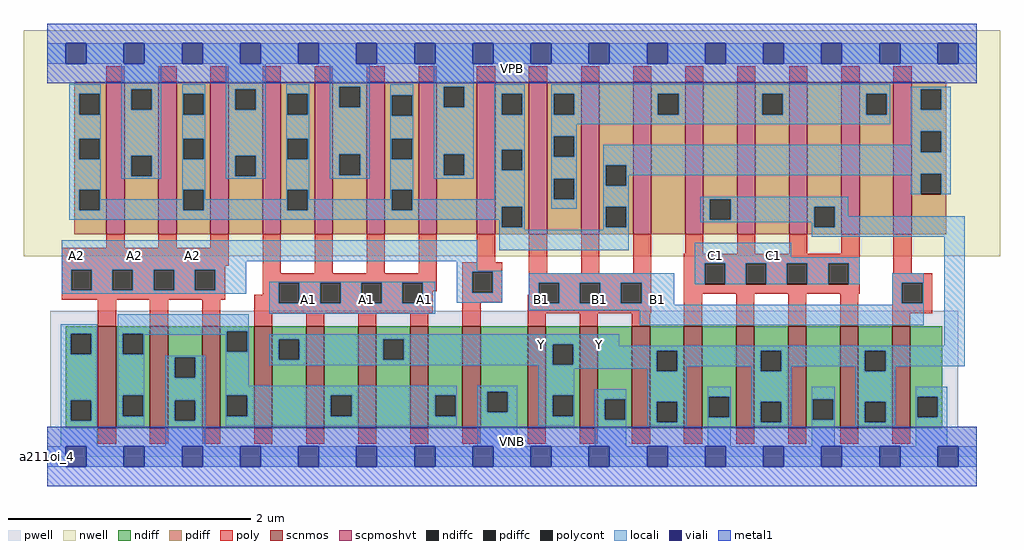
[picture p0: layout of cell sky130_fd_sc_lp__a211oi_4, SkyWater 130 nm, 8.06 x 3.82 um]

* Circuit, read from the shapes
.subckt sky130_fd_sc_lp__a211oi_4 A1 A2 B1 C1 VGND VNB VPB VPWR Y
XM1 n1 A2 VGND VNB sky130_fd_pr__nfet_01v8 w=0.84 l=0.15 m=4
XM2 Y A1 n1 VNB sky130_fd_pr__nfet_01v8 w=0.84 l=0.15 m=4
XM3 Y B1 VGND VNB sky130_fd_pr__nfet_01v8 w=0.84 l=0.15 m=4
XM4 VGND C1 Y VNB sky130_fd_pr__nfet_01v8 w=0.84 l=0.15 m=4
XM5 VPWR A2 n2 VPB sky130_fd_pr__pfet_01v8_hvt w=1.26 l=0.15 m=4
XM6 n2 A1 VPWR VPB sky130_fd_pr__pfet_01v8_hvt w=1.26 l=0.15 m=4
XM7 n3 B1 n2 VPB sky130_fd_pr__pfet_01v8_hvt w=1.26 l=0.15 m=4
XM8 Y C1 n3 VPB sky130_fd_pr__pfet_01v8_hvt w=1.26 l=0.15 m=4
.ends

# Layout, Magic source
magic
tech sky130A
magscale 1 2
<< nwell >>
rect -38 331 1574 704
<< pwell >>
rect 5 49 1505 241
rect 0 0 1536 49
<< scnmos >>
rect 84 47 114 215
rect 170 47 200 215
rect 256 47 286 215
rect 342 47 372 215
rect 428 47 458 215
rect 514 47 544 215
rect 600 47 630 215
rect 686 47 716 215
rect 794 47 824 215
rect 880 47 910 215
rect 966 47 996 215
rect 1052 47 1082 215
rect 1138 47 1168 215
rect 1224 47 1254 215
rect 1310 47 1340 215
rect 1396 47 1426 215
<< scpmoshvt >>
rect 98 367 128 619
rect 184 367 214 619
rect 270 367 300 619
rect 356 367 386 619
rect 442 367 472 619
rect 528 367 558 619
rect 614 367 644 619
rect 710 367 740 619
rect 796 367 826 619
rect 882 367 912 619
rect 968 367 998 619
rect 1054 367 1084 619
rect 1140 367 1170 619
rect 1226 367 1256 619
rect 1312 367 1342 619
rect 1398 367 1428 619
<< ndiff >>
rect 31 203 84 215
rect 31 169 39 203
rect 73 169 84 203
rect 31 93 84 169
rect 31 59 39 93
rect 73 59 84 93
rect 31 47 84 59
rect 114 203 170 215
rect 114 169 125 203
rect 159 169 170 203
rect 114 101 170 169
rect 114 67 125 101
rect 159 67 170 101
rect 114 47 170 67
rect 200 164 256 215
rect 200 130 211 164
rect 245 130 256 164
rect 200 93 256 130
rect 200 59 211 93
rect 245 59 256 93
rect 200 47 256 59
rect 286 207 342 215
rect 286 173 297 207
rect 331 173 342 207
rect 286 101 342 173
rect 286 67 297 101
rect 331 67 342 101
rect 286 47 342 67
rect 372 194 428 215
rect 372 160 383 194
rect 417 160 428 194
rect 372 47 428 160
rect 458 101 514 215
rect 458 67 469 101
rect 503 67 514 101
rect 458 47 514 67
rect 544 194 600 215
rect 544 160 555 194
rect 589 160 600 194
rect 544 47 600 160
rect 630 101 686 215
rect 630 67 641 101
rect 675 67 686 101
rect 630 47 686 67
rect 716 107 794 215
rect 716 73 727 107
rect 761 73 794 107
rect 716 47 794 73
rect 824 186 880 215
rect 824 152 835 186
rect 869 152 880 186
rect 824 101 880 152
rect 824 67 835 101
rect 869 67 880 101
rect 824 47 880 67
rect 910 95 966 215
rect 910 61 921 95
rect 955 61 966 95
rect 910 47 966 61
rect 996 175 1052 215
rect 996 141 1007 175
rect 1041 141 1052 175
rect 996 91 1052 141
rect 996 57 1007 91
rect 1041 57 1052 91
rect 996 47 1052 57
rect 1082 99 1138 215
rect 1082 65 1093 99
rect 1127 65 1138 99
rect 1082 47 1138 65
rect 1168 175 1224 215
rect 1168 141 1179 175
rect 1213 141 1224 175
rect 1168 91 1224 141
rect 1168 57 1179 91
rect 1213 57 1224 91
rect 1168 47 1224 57
rect 1254 95 1310 215
rect 1254 61 1265 95
rect 1299 61 1310 95
rect 1254 47 1310 61
rect 1340 175 1396 215
rect 1340 141 1351 175
rect 1385 141 1396 175
rect 1340 91 1396 141
rect 1340 57 1351 91
rect 1385 57 1396 91
rect 1340 47 1396 57
rect 1426 99 1479 215
rect 1426 65 1437 99
rect 1471 65 1479 99
rect 1426 47 1479 65
<< pdiff >>
rect 45 599 98 619
rect 45 565 53 599
rect 87 565 98 599
rect 45 525 98 565
rect 45 491 53 525
rect 87 491 98 525
rect 45 441 98 491
rect 45 407 53 441
rect 87 407 98 441
rect 45 367 98 407
rect 128 607 184 619
rect 128 573 139 607
rect 173 573 184 607
rect 128 497 184 573
rect 128 463 139 497
rect 173 463 184 497
rect 128 367 184 463
rect 214 599 270 619
rect 214 565 225 599
rect 259 565 270 599
rect 214 525 270 565
rect 214 491 225 525
rect 259 491 270 525
rect 214 441 270 491
rect 214 407 225 441
rect 259 407 270 441
rect 214 367 270 407
rect 300 607 356 619
rect 300 573 311 607
rect 345 573 356 607
rect 300 497 356 573
rect 300 463 311 497
rect 345 463 356 497
rect 300 367 356 463
rect 386 599 442 619
rect 386 565 397 599
rect 431 565 442 599
rect 386 525 442 565
rect 386 491 397 525
rect 431 491 442 525
rect 386 441 442 491
rect 386 407 397 441
rect 431 407 442 441
rect 386 367 442 407
rect 472 611 528 619
rect 472 577 483 611
rect 517 577 528 611
rect 472 499 528 577
rect 472 465 483 499
rect 517 465 528 499
rect 472 367 528 465
rect 558 597 614 619
rect 558 563 569 597
rect 603 563 614 597
rect 558 525 614 563
rect 558 491 569 525
rect 603 491 614 525
rect 558 441 614 491
rect 558 407 569 441
rect 603 407 614 441
rect 558 367 614 407
rect 644 611 710 619
rect 644 577 655 611
rect 689 577 710 611
rect 644 499 710 577
rect 644 465 655 499
rect 689 465 710 499
rect 644 367 710 465
rect 740 599 796 619
rect 740 565 751 599
rect 785 565 796 599
rect 740 507 796 565
rect 740 473 751 507
rect 785 473 796 507
rect 740 413 796 473
rect 740 379 751 413
rect 785 379 796 413
rect 740 367 796 379
rect 826 599 882 619
rect 826 565 837 599
rect 871 565 882 599
rect 826 529 882 565
rect 826 495 837 529
rect 871 495 882 529
rect 826 459 882 495
rect 826 425 837 459
rect 871 425 882 459
rect 826 367 882 425
rect 912 481 968 619
rect 912 447 923 481
rect 957 447 968 481
rect 912 413 968 447
rect 912 379 923 413
rect 957 379 968 413
rect 912 367 968 379
rect 998 599 1054 619
rect 998 565 1009 599
rect 1043 565 1054 599
rect 998 367 1054 565
rect 1084 425 1140 619
rect 1084 391 1095 425
rect 1129 391 1140 425
rect 1084 367 1140 391
rect 1170 599 1226 619
rect 1170 565 1181 599
rect 1215 565 1226 599
rect 1170 367 1226 565
rect 1256 413 1312 619
rect 1256 379 1267 413
rect 1301 379 1312 413
rect 1256 367 1312 379
rect 1342 599 1398 619
rect 1342 565 1353 599
rect 1387 565 1398 599
rect 1342 367 1398 565
rect 1428 607 1485 619
rect 1428 573 1443 607
rect 1477 573 1485 607
rect 1428 537 1485 573
rect 1428 503 1443 537
rect 1477 503 1485 537
rect 1428 467 1485 503
rect 1428 433 1443 467
rect 1477 433 1485 467
rect 1428 367 1485 433
<< ndiffc >>
rect 39 169 73 203
rect 39 59 73 93
rect 125 169 159 203
rect 125 67 159 101
rect 211 130 245 164
rect 211 59 245 93
rect 297 173 331 207
rect 297 67 331 101
rect 383 160 417 194
rect 469 67 503 101
rect 555 160 589 194
rect 641 67 675 101
rect 727 73 761 107
rect 835 152 869 186
rect 835 67 869 101
rect 921 61 955 95
rect 1007 141 1041 175
rect 1007 57 1041 91
rect 1093 65 1127 99
rect 1179 141 1213 175
rect 1179 57 1213 91
rect 1265 61 1299 95
rect 1351 141 1385 175
rect 1351 57 1385 91
rect 1437 65 1471 99
<< pdiffc >>
rect 53 565 87 599
rect 53 491 87 525
rect 53 407 87 441
rect 139 573 173 607
rect 139 463 173 497
rect 225 565 259 599
rect 225 491 259 525
rect 225 407 259 441
rect 311 573 345 607
rect 311 463 345 497
rect 397 565 431 599
rect 397 491 431 525
rect 397 407 431 441
rect 483 577 517 611
rect 483 465 517 499
rect 569 563 603 597
rect 569 491 603 525
rect 569 407 603 441
rect 655 577 689 611
rect 655 465 689 499
rect 751 565 785 599
rect 751 473 785 507
rect 751 379 785 413
rect 837 565 871 599
rect 837 495 871 529
rect 837 425 871 459
rect 923 447 957 481
rect 923 379 957 413
rect 1009 565 1043 599
rect 1095 391 1129 425
rect 1181 565 1215 599
rect 1267 379 1301 413
rect 1353 565 1387 599
rect 1443 573 1477 607
rect 1443 503 1477 537
rect 1443 433 1477 467
<< poly >>
rect 98 619 128 645
rect 184 619 214 645
rect 270 619 300 645
rect 356 619 386 645
rect 442 619 472 645
rect 528 619 558 645
rect 614 619 644 645
rect 710 619 740 645
rect 796 619 826 645
rect 882 619 912 645
rect 968 619 998 645
rect 1054 619 1084 645
rect 1140 619 1170 645
rect 1226 619 1256 645
rect 1312 619 1342 645
rect 1398 619 1428 645
rect 98 345 128 367
rect 184 345 214 367
rect 270 345 300 367
rect 24 315 300 345
rect 24 309 294 315
rect 24 275 40 309
rect 74 275 108 309
rect 142 275 176 309
rect 210 275 244 309
rect 278 275 294 309
rect 24 259 294 275
rect 356 303 386 367
rect 442 303 472 367
rect 528 303 558 367
rect 614 303 644 367
rect 710 321 740 367
rect 356 287 644 303
rect 356 267 383 287
rect 84 215 114 259
rect 170 215 200 259
rect 256 215 286 259
rect 342 253 383 267
rect 417 253 451 287
rect 485 253 519 287
rect 553 253 587 287
rect 621 273 644 287
rect 686 305 752 321
rect 621 253 637 273
rect 342 237 637 253
rect 686 271 702 305
rect 736 271 752 305
rect 686 255 752 271
rect 796 303 826 367
rect 882 303 912 367
rect 968 303 998 367
rect 1054 335 1084 367
rect 1140 335 1170 367
rect 1226 335 1256 367
rect 1312 335 1342 367
rect 796 287 998 303
rect 796 267 812 287
rect 342 215 372 237
rect 428 215 458 237
rect 514 215 544 237
rect 600 215 630 237
rect 686 215 716 255
rect 794 253 812 267
rect 846 253 880 287
rect 914 253 948 287
rect 982 253 998 287
rect 794 237 998 253
rect 1052 319 1342 335
rect 1052 285 1086 319
rect 1120 285 1154 319
rect 1188 285 1222 319
rect 1256 285 1290 319
rect 1324 285 1342 319
rect 1398 303 1428 367
rect 1052 269 1342 285
rect 1396 287 1462 303
rect 794 215 824 237
rect 880 215 910 237
rect 966 215 996 237
rect 1052 215 1082 269
rect 1138 215 1168 269
rect 1224 215 1254 269
rect 1310 215 1340 269
rect 1396 253 1412 287
rect 1446 253 1462 287
rect 1396 237 1462 253
rect 1396 215 1426 237
rect 84 21 114 47
rect 170 21 200 47
rect 256 21 286 47
rect 342 21 372 47
rect 428 21 458 47
rect 514 21 544 47
rect 600 21 630 47
rect 686 21 716 47
rect 794 21 824 47
rect 880 21 910 47
rect 966 21 996 47
rect 1052 21 1082 47
rect 1138 21 1168 47
rect 1224 21 1254 47
rect 1310 21 1340 47
rect 1396 21 1426 47
<< polycont >>
rect 40 275 74 309
rect 108 275 142 309
rect 176 275 210 309
rect 244 275 278 309
rect 383 253 417 287
rect 451 253 485 287
rect 519 253 553 287
rect 587 253 621 287
rect 702 271 736 305
rect 812 253 846 287
rect 880 253 914 287
rect 948 253 982 287
rect 1086 285 1120 319
rect 1154 285 1188 319
rect 1222 285 1256 319
rect 1290 285 1324 319
rect 1412 253 1446 287
<< locali >>
rect 0 649 31 683
rect 65 649 127 683
rect 161 649 223 683
rect 257 649 319 683
rect 353 649 415 683
rect 449 649 511 683
rect 545 649 607 683
rect 641 649 703 683
rect 737 649 799 683
rect 833 649 895 683
rect 929 649 991 683
rect 1025 649 1087 683
rect 1121 649 1183 683
rect 1217 649 1279 683
rect 1313 649 1375 683
rect 1409 649 1471 683
rect 1505 649 1536 683
rect 37 599 89 615
rect 37 565 53 599
rect 87 565 89 599
rect 37 525 89 565
rect 37 491 53 525
rect 87 491 89 525
rect 37 441 89 491
rect 123 607 189 649
rect 123 573 139 607
rect 173 573 189 607
rect 123 497 189 573
rect 123 463 139 497
rect 173 463 189 497
rect 123 459 189 463
rect 223 599 261 615
rect 223 565 225 599
rect 259 565 261 599
rect 223 525 261 565
rect 223 491 225 525
rect 259 491 261 525
rect 37 407 53 441
rect 87 425 89 441
rect 223 441 261 491
rect 295 607 361 649
rect 295 573 311 607
rect 345 573 361 607
rect 295 497 361 573
rect 295 463 311 497
rect 345 463 361 497
rect 295 459 361 463
rect 395 599 433 615
rect 395 565 397 599
rect 431 565 433 599
rect 395 525 433 565
rect 395 491 397 525
rect 431 491 433 525
rect 223 425 225 441
rect 87 407 225 425
rect 259 425 261 441
rect 395 441 433 491
rect 467 611 533 649
rect 467 577 483 611
rect 517 577 533 611
rect 467 499 533 577
rect 467 465 483 499
rect 517 465 533 499
rect 467 459 533 465
rect 567 597 605 615
rect 567 563 569 597
rect 603 563 605 597
rect 567 525 605 563
rect 567 491 569 525
rect 603 491 605 525
rect 395 425 397 441
rect 259 407 397 425
rect 431 425 433 441
rect 567 441 605 491
rect 639 611 705 649
rect 639 577 655 611
rect 689 577 705 611
rect 639 499 705 577
rect 639 465 655 499
rect 689 465 705 499
rect 639 459 705 465
rect 739 599 789 615
rect 739 565 751 599
rect 785 565 789 599
rect 739 507 789 565
rect 739 473 751 507
rect 785 473 789 507
rect 567 425 569 441
rect 431 407 569 425
rect 603 425 605 441
rect 739 425 789 473
rect 603 413 789 425
rect 603 407 751 413
rect 37 391 751 407
rect 747 379 751 391
rect 785 379 789 413
rect 833 599 1393 615
rect 833 565 837 599
rect 871 565 1009 599
rect 1043 565 1181 599
rect 1215 565 1353 599
rect 1387 565 1393 599
rect 833 549 1393 565
rect 1427 607 1493 611
rect 1427 573 1443 607
rect 1477 573 1493 607
rect 833 529 875 549
rect 833 495 837 529
rect 871 495 875 529
rect 1427 537 1493 573
rect 1427 515 1443 537
rect 833 459 875 495
rect 833 425 837 459
rect 871 425 875 459
rect 833 409 875 425
rect 919 503 1443 515
rect 1477 503 1493 537
rect 919 481 1493 503
rect 919 447 923 481
rect 957 467 1493 481
rect 957 465 1443 467
rect 957 447 961 465
rect 919 413 961 447
rect 1427 433 1443 465
rect 1477 433 1493 467
rect 747 375 789 379
rect 919 379 923 413
rect 957 379 961 413
rect 1079 425 1323 429
rect 1079 391 1095 425
rect 1129 413 1323 425
rect 1129 391 1267 413
rect 1079 387 1267 391
rect 919 375 961 379
rect 24 323 711 357
rect 747 341 961 375
rect 1263 379 1267 387
rect 1301 397 1323 413
rect 1301 379 1516 397
rect 1263 363 1516 379
rect 24 309 329 323
rect 24 275 40 309
rect 74 275 108 309
rect 142 275 176 309
rect 210 275 244 309
rect 278 275 329 309
rect 677 307 711 323
rect 1070 329 1229 353
rect 1070 319 1342 329
rect 677 305 752 307
rect 24 269 329 275
rect 367 287 641 289
rect 367 253 383 287
rect 417 253 451 287
rect 485 253 519 287
rect 553 253 587 287
rect 621 253 641 287
rect 677 271 702 305
rect 736 271 752 305
rect 677 254 752 271
rect 796 287 1036 303
rect 367 236 641 253
rect 796 253 812 287
rect 846 253 880 287
rect 914 253 948 287
rect 982 253 1036 287
rect 1070 285 1086 319
rect 1120 285 1154 319
rect 1188 285 1222 319
rect 1256 285 1290 319
rect 1324 285 1342 319
rect 1396 287 1448 303
rect 796 251 1036 253
rect 1396 253 1412 287
rect 1446 253 1448 287
rect 1396 251 1448 253
rect 796 242 1448 251
rect 23 203 83 219
rect 23 169 39 203
rect 73 169 83 203
rect 23 93 83 169
rect 23 59 39 93
rect 73 59 83 93
rect 23 17 83 59
rect 117 207 333 235
rect 979 217 1448 242
rect 117 203 297 207
rect 117 169 125 203
rect 159 201 297 203
rect 159 169 161 201
rect 117 101 161 169
rect 295 173 297 201
rect 331 173 333 207
rect 117 67 125 101
rect 159 67 161 101
rect 117 51 161 67
rect 195 164 261 167
rect 195 130 211 164
rect 245 130 261 164
rect 195 93 261 130
rect 195 59 211 93
rect 245 59 261 93
rect 195 17 261 59
rect 295 117 333 173
rect 367 194 945 202
rect 367 160 383 194
rect 417 160 555 194
rect 589 186 945 194
rect 589 160 835 186
rect 367 152 835 160
rect 869 183 945 186
rect 1482 183 1516 363
rect 869 175 1516 183
rect 869 152 1007 175
rect 367 151 1007 152
rect 811 145 1007 151
rect 295 101 677 117
rect 295 67 297 101
rect 331 67 469 101
rect 503 67 641 101
rect 675 67 677 101
rect 295 51 677 67
rect 711 107 777 117
rect 711 73 727 107
rect 761 73 777 107
rect 711 17 777 73
rect 811 101 871 145
rect 991 141 1007 145
rect 1041 149 1179 175
rect 1041 141 1057 149
rect 811 67 835 101
rect 869 67 871 101
rect 811 51 871 67
rect 905 95 957 111
rect 905 61 921 95
rect 955 61 957 95
rect 905 17 957 61
rect 991 91 1057 141
rect 1163 141 1179 149
rect 1213 149 1351 175
rect 1213 141 1229 149
rect 991 57 1007 91
rect 1041 57 1057 91
rect 991 51 1057 57
rect 1091 99 1129 115
rect 1091 65 1093 99
rect 1127 65 1129 99
rect 1091 17 1129 65
rect 1163 91 1229 141
rect 1335 141 1351 149
rect 1385 149 1516 175
rect 1385 141 1401 149
rect 1163 57 1179 91
rect 1213 57 1229 91
rect 1163 51 1229 57
rect 1263 95 1301 115
rect 1263 61 1265 95
rect 1299 61 1301 95
rect 1263 17 1301 61
rect 1335 91 1401 141
rect 1335 57 1351 91
rect 1385 57 1401 91
rect 1335 51 1401 57
rect 1435 99 1487 115
rect 1435 65 1437 99
rect 1471 65 1487 99
rect 1435 17 1487 65
rect 0 -17 31 17
rect 65 -17 127 17
rect 161 -17 223 17
rect 257 -17 319 17
rect 353 -17 415 17
rect 449 -17 511 17
rect 545 -17 607 17
rect 641 -17 703 17
rect 737 -17 799 17
rect 833 -17 895 17
rect 929 -17 991 17
rect 1025 -17 1087 17
rect 1121 -17 1183 17
rect 1217 -17 1279 17
rect 1313 -17 1375 17
rect 1409 -17 1471 17
rect 1505 -17 1536 17
<< viali >>
rect 31 649 65 683
rect 127 649 161 683
rect 223 649 257 683
rect 319 649 353 683
rect 415 649 449 683
rect 511 649 545 683
rect 607 649 641 683
rect 703 649 737 683
rect 799 649 833 683
rect 895 649 929 683
rect 991 649 1025 683
rect 1087 649 1121 683
rect 1183 649 1217 683
rect 1279 649 1313 683
rect 1375 649 1409 683
rect 1471 649 1505 683
rect 31 -17 65 17
rect 127 -17 161 17
rect 223 -17 257 17
rect 319 -17 353 17
rect 415 -17 449 17
rect 511 -17 545 17
rect 607 -17 641 17
rect 703 -17 737 17
rect 799 -17 833 17
rect 895 -17 929 17
rect 991 -17 1025 17
rect 1087 -17 1121 17
rect 1183 -17 1217 17
rect 1279 -17 1313 17
rect 1375 -17 1409 17
rect 1471 -17 1505 17
<< metal1 >>
rect 0 683 1536 715
rect 0 649 31 683
rect 65 649 127 683
rect 161 649 223 683
rect 257 649 319 683
rect 353 649 415 683
rect 449 649 511 683
rect 545 649 607 683
rect 641 649 703 683
rect 737 649 799 683
rect 833 649 895 683
rect 929 649 991 683
rect 1025 649 1087 683
rect 1121 649 1183 683
rect 1217 649 1279 683
rect 1313 649 1375 683
rect 1409 649 1471 683
rect 1505 649 1536 683
rect 0 617 1536 649
rect 0 17 1536 49
rect 0 -17 31 17
rect 65 -17 127 17
rect 161 -17 223 17
rect 257 -17 319 17
rect 353 -17 415 17
rect 449 -17 511 17
rect 545 -17 607 17
rect 641 -17 703 17
rect 737 -17 799 17
rect 833 -17 895 17
rect 929 -17 991 17
rect 1025 -17 1087 17
rect 1121 -17 1183 17
rect 1217 -17 1279 17
rect 1313 -17 1375 17
rect 1409 -17 1471 17
rect 1505 -17 1536 17
rect 0 -49 1536 -17
<< labels >>
flabel pwell s 0 0 1536 49 0 FreeSans 200 0 0 0 VNB
port 6 nsew ground bidirectional
flabel nwell s 0 617 1536 666 0 FreeSans 200 0 0 0 VPB
port 7 nsew power bidirectional
rlabel comment s 0 0 0 0 4 a211oi_4
flabel metal1 s 0 617 1536 666 0 FreeSans 340 0 0 0 VPWR
port 8 nsew power bidirectional
flabel metal1 s 0 0 1536 49 0 FreeSans 340 0 0 0 VGND
port 5 nsew ground bidirectional
flabel locali s 415 242 449 276 0 FreeSans 340 0 0 0 A1
port 1 nsew signal input
flabel locali s 511 242 545 276 0 FreeSans 340 0 0 0 A1
port 1 nsew signal input
flabel locali s 607 242 641 276 0 FreeSans 340 0 0 0 A1
port 1 nsew signal input
flabel locali s 799 168 833 202 0 FreeSans 340 0 0 0 Y
port 9 nsew signal output
flabel locali s 895 168 929 202 0 FreeSans 340 0 0 0 Y
port 9 nsew signal output
flabel locali s 31 316 65 350 0 FreeSans 340 0 0 0 A2
port 2 nsew signal input
flabel locali s 127 316 161 350 0 FreeSans 340 0 0 0 A2
port 2 nsew signal input
flabel locali s 223 316 257 350 0 FreeSans 340 0 0 0 A2
port 2 nsew signal input
flabel locali s 1087 316 1121 350 0 FreeSans 340 0 0 0 C1
port 4 nsew signal input
flabel locali s 1183 316 1217 350 0 FreeSans 340 0 0 0 C1
port 4 nsew signal input
flabel locali s 799 242 833 276 0 FreeSans 340 0 0 0 B1
port 3 nsew signal input
flabel locali s 895 242 929 276 0 FreeSans 340 0 0 0 B1
port 3 nsew signal input
flabel locali s 991 242 1025 276 0 FreeSans 340 0 0 0 B1
port 3 nsew signal input
<< properties >>
string LEFsite unit
string LEFclass CORE
string FIXED_BBOX 0 0 1536 666
string GDS_FILE $PDKPATH/libs.ref/sky130_fd_sc_lp/gds/sky130_fd_sc_lp.gds
string LEFsymmetry X Y R90
string GDS_END 199518
string GDS_START 186522
<< end >>
